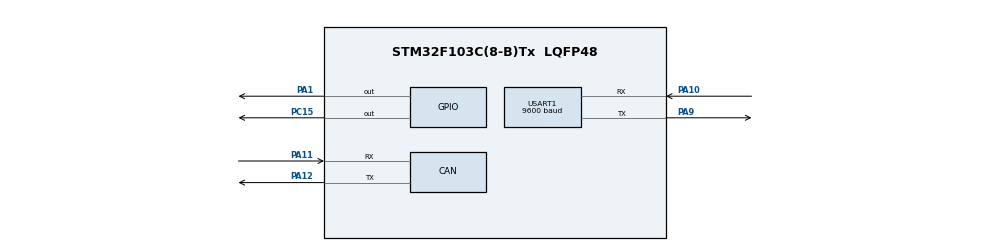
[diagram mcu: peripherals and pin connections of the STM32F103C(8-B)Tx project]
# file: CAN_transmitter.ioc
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CAN.BS1=CAN_BS1_2TQ
CAN.CalculateTimeBit=8000
CAN.CalculateTimeQuantum=2000.0
CAN.TXFP=ENABLE
Mcu.Family=STM32F1
Mcu.Name=STM32F103C(8-B)Tx
Mcu.Package=LQFP48
NVIC.CAN1_RX1_IRQn=true\:0\:0\:false\:false\:true\:true\:true
NVIC.PriorityGroup=NVIC_PRIORITYGROUP_4
NVIC.USART1_IRQn=true\:0\:0\:false\:false\:true\:true\:true
NVIC.USB_LP_CAN1_RX0_IRQn=true\:0\:0\:false\:false\:true\:true\:true
PA1.Signal=GPIO_Output
PA10.Mode=Asynchronous
PA10.Signal=USART1_RX
PA11.Mode=Master
PA11.Signal=CAN_RX
PA12.Mode=Master
PA12.Signal=CAN_TX
PA13.Mode=Serial_Wire
PA13.Signal=SYS_JTMS-SWDIO
PA14.Mode=Serial_Wire
PA14.Signal=SYS_JTCK-SWCLK
PA9.Mode=Asynchronous
PA9.Signal=USART1_TX
PC15-OSC32_OUT.Signal=GPIO_Output
ProjectManager.HeapSize=0x200
ProjectManager.StackSize=0x400
ProjectManager.TargetToolchain=STM32CubeIDE
RCC.APB1Freq_Value=8000000
RCC.APB2Freq_Value=8000000
USART1.BaudRate=9600
USART1.VirtualMode=VM_ASYNC
board=custom

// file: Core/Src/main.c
/* USER CODE BEGIN Header */
/**
 ******************************************************************************
 * @file           : main.c
 * @brief          : Main program body
 ******************************************************************************
 * @attention
 *
 * <h2><center>&copy; Copyright (c) 2023 STMicroelectronics.
 * All rights reserved.</center></h2>
 *
 * This software component is licensed by ST under BSD 3-Clause license,
 * the "License"; You may not use this file except in compliance with the
 * License. You may obtain a copy of the License at:
 *                        opensource.org/licenses/BSD-3-Clause
 *
 ******************************************************************************
 */
/* USER CODE END Header */
#include "main.h"

/* USER CODE BEGIN Includes */
#include "../Inc/USART_interface.h"
/* USER CODE END Includes */

CAN_HandleTypeDef hcan;

UART_HandleTypeDef huart1;

void SystemClock_Config(void);
static void MX_GPIO_Init(void);
static void MX_CAN_Init(void);
static void MX_USART1_UART_Init(void);

/* USER CODE BEGIN 0 */

CAN_TxHeaderTypeDef TxHeader;
CAN_RxHeaderTypeDef RxHeader;
uint32_t TxMailbox;

uint8_t RxData;

uint8_t flag = 0;

uint16_t IndexBuffer = 0;
uint8_t record[100] = {0};

void HAL_CAN_RxFifo0MsgPendingCallback(CAN_HandleTypeDef *hcan)
{
	HAL_CAN_GetRxMessage(hcan, CAN_RX_FIFO0, &RxHeader, &RxData);
	flag = 1;
}

void CLEAR_RxBuffer(void){
	for(uint8_t i = 0; i<100 ; i++){
		record[i] = 0;
	}
}
int main(void)
{

	/* MCU Configuration--------------------------------------------------------*/

	/* Reset of all peripherals, Initializes the Flash interface and the Systick. */
	HAL_Init();

	/* Configure the system clock */
	SystemClock_Config();

	/* Initialize all configured peripherals */
	MX_GPIO_Init();
	MX_CAN_Init();
	MX_USART1_UART_Init();
	/* USER CODE BEGIN 2 */
	HAL_CAN_Start(&hcan);
	MUSART1_voidInit();

	/* USER CODE END 2 */
	RxHeader.DLC = 1;  // data length
	RxHeader.IDE = CAN_ID_STD;
	RxHeader.RTR = CAN_RTR_DATA;
	RxHeader.StdId = 0x030;  // ID

	TxHeader.DLC = 1;  // data length
	TxHeader.IDE = CAN_ID_STD;
	TxHeader.RTR = CAN_RTR_DATA;
	TxHeader.StdId = 0x103;  // ID

	HAL_CAN_ActivateNotification(&hcan, CAN_IT_RX_FIFO0_MSG_PENDING);

	uint8_t Local_u8RecStatus = 0 , u8RecCounter = 0 , finishRecordFlag = 0;
	while(1){
		Local_u8RecStatus = 0 , u8RecCounter = 0 , finishRecordFlag = 0;
		while(!(finishRecordFlag)){
			Local_u8RecStatus = MUSART1_u8Receive( &(record[u8RecCounter]) );
			if(Local_u8RecStatus){
				if(record[u8RecCounter] == '\n'){
					u8RecCounter = 0;
					finishRecordFlag = 1;
				} else{
					u8RecCounter ++ ;
				}
			}else{

			}
		}
		/* CAN: */
		uint8_t i = 0;
		while(record[i] != '\n'){
			HAL_CAN_AddTxMessage(&hcan, &TxHeader, &record[i], &TxMailbox);
			HAL_GPIO_TogglePin(GPIOC, GPIO_PIN_15);
			i++;
			while(flag == 0);
			flag = 0;
		}
		HAL_CAN_AddTxMessage(&hcan, &TxHeader, &record[i], &TxMailbox);
		while(flag == 0);
		flag = 0;
		CLEAR_RxBuffer();
		MUSART1_voidTransmit(4);
	}

}

void SystemClock_Config(void)
{
	RCC_OscInitTypeDef RCC_OscInitStruct = {0};
	RCC_ClkInitTypeDef RCC_ClkInitStruct = {0};

	/** Initializes the RCC Oscillators according to the specified parameters
	 * in the RCC_OscInitTypeDef structure.
	 */
	RCC_OscInitStruct.OscillatorType = RCC_OSCILLATORTYPE_HSI;
	RCC_OscInitStruct.HSIState = RCC_HSI_ON;
	RCC_OscInitStruct.HSICalibrationValue = RCC_HSICALIBRATION_DEFAULT;
	RCC_OscInitStruct.PLL.PLLState = RCC_PLL_NONE;
	if (HAL_RCC_OscConfig(&RCC_OscInitStruct) != HAL_OK)
	{
		Error_Handler();
	}
	/** Initializes the CPU, AHB and APB buses clocks
	 */
	RCC_ClkInitStruct.ClockType = RCC_CLOCKTYPE_HCLK|RCC_CLOCKTYPE_SYSCLK
			|RCC_CLOCKTYPE_PCLK1|RCC_CLOCKTYPE_PCLK2;
	RCC_ClkInitStruct.SYSCLKSource = RCC_SYSCLKSOURCE_HSI;
	RCC_ClkInitStruct.AHBCLKDivider = RCC_SYSCLK_DIV1;
	RCC_ClkInitStruct.APB1CLKDivider = RCC_HCLK_DIV1;
	RCC_ClkInitStruct.APB2CLKDivider = RCC_HCLK_DIV1;

	if (HAL_RCC_ClockConfig(&RCC_ClkInitStruct, FLASH_LATENCY_0) != HAL_OK)
	{
		Error_Handler();
	}
}

static void MX_CAN_Init(void)
{

	hcan.Instance = CAN1;
	hcan.Init.Prescaler = 16;
	hcan.Init.Mode = CAN_MODE_NORMAL;
	hcan.Init.SyncJumpWidth = CAN_SJW_1TQ;
	hcan.Init.TimeSeg1 = CAN_BS1_2TQ;
	hcan.Init.TimeSeg2 = CAN_BS2_1TQ;
	hcan.Init.TimeTriggeredMode = DISABLE;
	hcan.Init.AutoBusOff = DISABLE;
	hcan.Init.AutoWakeUp = DISABLE;
	hcan.Init.AutoRetransmission = DISABLE;
	hcan.Init.ReceiveFifoLocked = DISABLE;
	hcan.Init.TransmitFifoPriority = DISABLE;
	if (HAL_CAN_Init(&hcan) != HAL_OK)
	{
		Error_Handler();
	}
	/* USER CODE BEGIN CAN_Init 2 */

	CAN_FilterTypeDef canfilterconfig;

	canfilterconfig.FilterActivation = CAN_FILTER_ENABLE;
	canfilterconfig.FilterBank = 10;  // which filter bank to use from the assigned ones
	canfilterconfig.FilterFIFOAssignment = CAN_FILTER_FIFO0;
	canfilterconfig.FilterIdHigh = 0x0000;
	canfilterconfig.FilterIdLow = 0;
	canfilterconfig.FilterMaskIdHigh = 0x0000;
	canfilterconfig.FilterMaskIdLow = 0x0000;
	canfilterconfig.FilterMode = CAN_FILTERMODE_IDMASK;
	canfilterconfig.FilterScale = CAN_FILTERSCALE_32BIT;
	canfilterconfig.SlaveStartFilterBank = 0;  // doesn't matter in single can controllers

	HAL_CAN_ConfigFilter(&hcan, &canfilterconfig);

	/* USER CODE END CAN_Init 2 */

}

static void MX_USART1_UART_Init(void)
{

	huart1.Instance = USART1;
	huart1.Init.BaudRate = 9600;
	huart1.Init.WordLength = UART_WORDLENGTH_8B;
	huart1.Init.StopBits = UART_STOPBITS_1;
	huart1.Init.Parity = UART_PARITY_NONE;
	huart1.Init.Mode = UART_MODE_TX_RX;
	huart1.Init.HwFlowCtl = UART_HWCONTROL_NONE;
	huart1.Init.OverSampling = UART_OVERSAMPLING_16;
	if (HAL_UART_Init(&huart1) != HAL_OK)
	{
		Error_Handler();
	}

}

static void MX_GPIO_Init(void)
{
	GPIO_InitTypeDef GPIO_InitStruct = {0};

	/* GPIO Ports Clock Enable */
	__HAL_RCC_GPIOC_CLK_ENABLE();
	__HAL_RCC_GPIOA_CLK_ENABLE();

	/*Configure GPIO pin Output Level */
	HAL_GPIO_WritePin(GPIOC, GPIO_PIN_15, GPIO_PIN_RESET);

	/*Configure GPIO pin Output Level */
	HAL_GPIO_WritePin(GPIOA, GPIO_PIN_1, GPIO_PIN_RESET);

	/*Configure GPIO pin : PC15 */
	GPIO_InitStruct.Pin = GPIO_PIN_15;
	GPIO_InitStruct.Mode = GPIO_MODE_OUTPUT_PP;
	GPIO_InitStruct.Pull = GPIO_NOPULL;
	GPIO_InitStruct.Speed = GPIO_SPEED_FREQ_LOW;
	HAL_GPIO_Init(GPIOC, &GPIO_InitStruct);

	/*Configure GPIO pin : PA1 */
	GPIO_InitStruct.Pin = GPIO_PIN_1;
	GPIO_InitStruct.Mode = GPIO_MODE_OUTPUT_PP;
	GPIO_InitStruct.Pull = GPIO_NOPULL;
	GPIO_InitStruct.Speed = GPIO_SPEED_FREQ_LOW;
	HAL_GPIO_Init(GPIOA, &GPIO_InitStruct);

}

void Error_Handler(void)
{
	__disable_irq();
	while (1)
	{
	}
}

/************************ (C) COPYRIGHT STMicroelectronics *****END OF FILE****/
